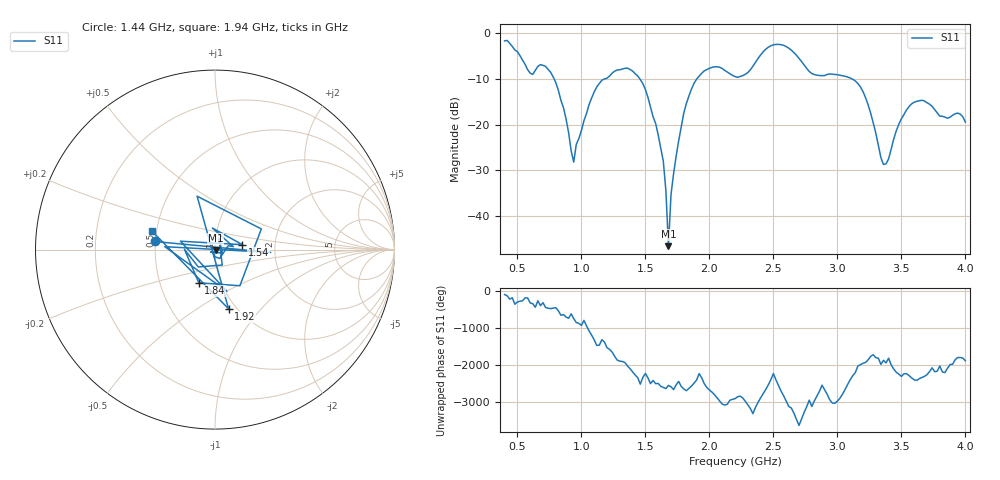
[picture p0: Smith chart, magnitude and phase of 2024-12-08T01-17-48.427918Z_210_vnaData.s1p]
!Created with skrf (http://scikit-rf.org).
# Hz S RI R 50.0
!freq ReS11 ImS11
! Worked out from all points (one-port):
!   181 points, 400 MHz to 4 GHz, reference 50 ohm
!   lowest |S11| = -46.5 dB at 1.68 GHz (marker M1), VSWR 1.01, Z = 50.4 - j0.285 ohm
!   |S11| at or under -10 dB: 786.4 MHz to 1.184 GHz (397.3 MHz wide, 40.3 % of centre); 1.456 GHz to 1.902 GHz (446 MHz wide, 26.6 % of centre); 3.113 GHz to end of sweep
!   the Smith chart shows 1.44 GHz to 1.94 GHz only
!   S11 on the Smith chart (normalised r, x): 1.44 GHz: 0.49, +0.05; 1.54 GHz: 1.36, +0.08; 1.84 GHz: 0.78, -0.30; 1.92 GHz: 0.92, -0.68; 1.94 GHz: 0.47, +0.11
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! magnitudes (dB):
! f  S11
! 400 MHz  -1.7
! 600 MHz  -8.8
! 720 MHz  -7.3
! 860 MHz  -16.3
! 940 MHz  -28.2
! 960 MHz  -24.3
! 1.1 GHz  -12.9
! 1.3 GHz  -8.0
! 1.44 GHz  -9.4
! 1.54 GHz  -16.2
! 1.64 GHz  -28.0
! 1.66 GHz  -34.4
! 1.68 GHz  -46.5
! 1.7 GHz  -35.3
! 1.76 GHz  -23.5
! 1.84 GHz  -13.7
! 1.92 GHz  -9.4
! 1.94 GHz  -8.8
! 2.2 GHz  -9.5
! 2.48 GHz  -2.8
! 2.66 GHz  -4.3
! 2.8 GHz  -8.8
! 3.1 GHz  -9.8
! 3.22 GHz  -14.1
! 3.36 GHz  -28.7
! 3.56 GHz  -16.1
! 3.68 GHz  -14.8
! 4 GHz  -19.4
